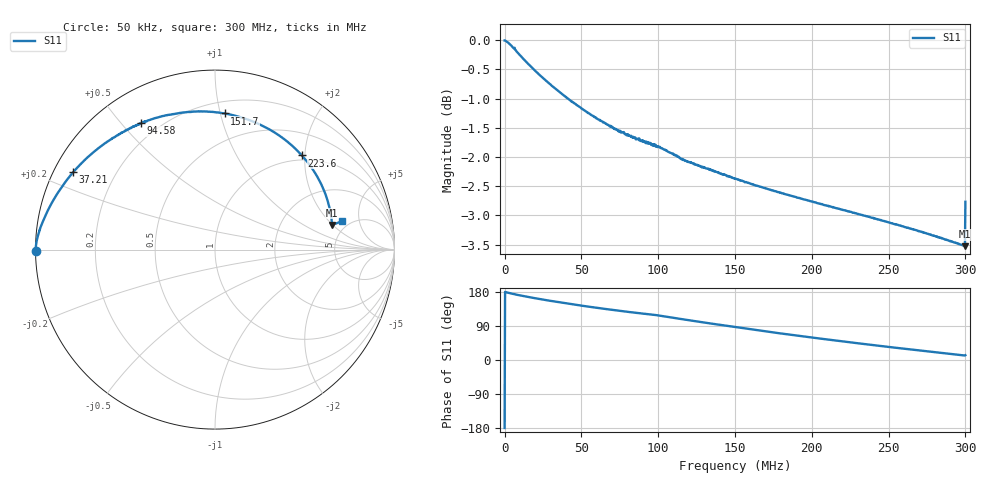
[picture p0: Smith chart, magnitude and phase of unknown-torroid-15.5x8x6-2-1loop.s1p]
# HZ S RI R 50
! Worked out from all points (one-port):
!   1010 points, 50 kHz to 300 MHz, reference 50 ohm
!   lowest |S11| = -3.5 dB at 299.7 MHz (marker M1), VSWR 5.00, Z = 199 + j97.8 ohm
!   |S11| at or under -10 dB: nowhere
!   S11 on the Smith chart (normalised r, x): 50 kHz: 0.00, -0.01; 37.21 MHz: 0.06, +0.25; 94.58 MHz: 0.13, +0.57; 151.7 MHz: 0.29, +1.03; 223.6 MHz: 0.91, +1.94; 300 MHz: 4.29, +2.91
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50000  -0.9995 -0.0105
4211800  -0.987 0.0754
8373700  -0.9665 0.1373
1.55083e7  -0.9268 0.2267
2.62102e7  -0.8614 0.3381
3.720938e7  -0.7895 0.4318
3.780388e7  -0.7854 0.4364
4.701938e7  -0.7234 0.5014
5.623498e7  -0.6606 0.5556
6.604495e7  -0.5951 0.6049
7.526045e7  -0.5345 0.6429
9.458343e7  -0.4134 0.7047
1.008261e8  -0.3726 0.7195
1.127171e8  -0.2654 0.7491
1.317428e8  -0.1059 0.7692
1.501739e8  0.0428 0.7599
1.516602e8  0.0542 0.7583
1.683076e8  0.1754 0.7272
1.876305e8  0.3005 0.6712
2.057642e8  0.4012 0.603
2.236007e8  0.4836 0.5248
2.250871e8  0.4898 0.5182
2.438155e8  0.5572 0.427
2.625438e8  0.6067 0.331
2.803803e8  0.6368 0.2376
2.982168e8  0.652 0.1442
2.997032e8  0.6523 0.1365
3.000005e8  0.7096 0.1595
